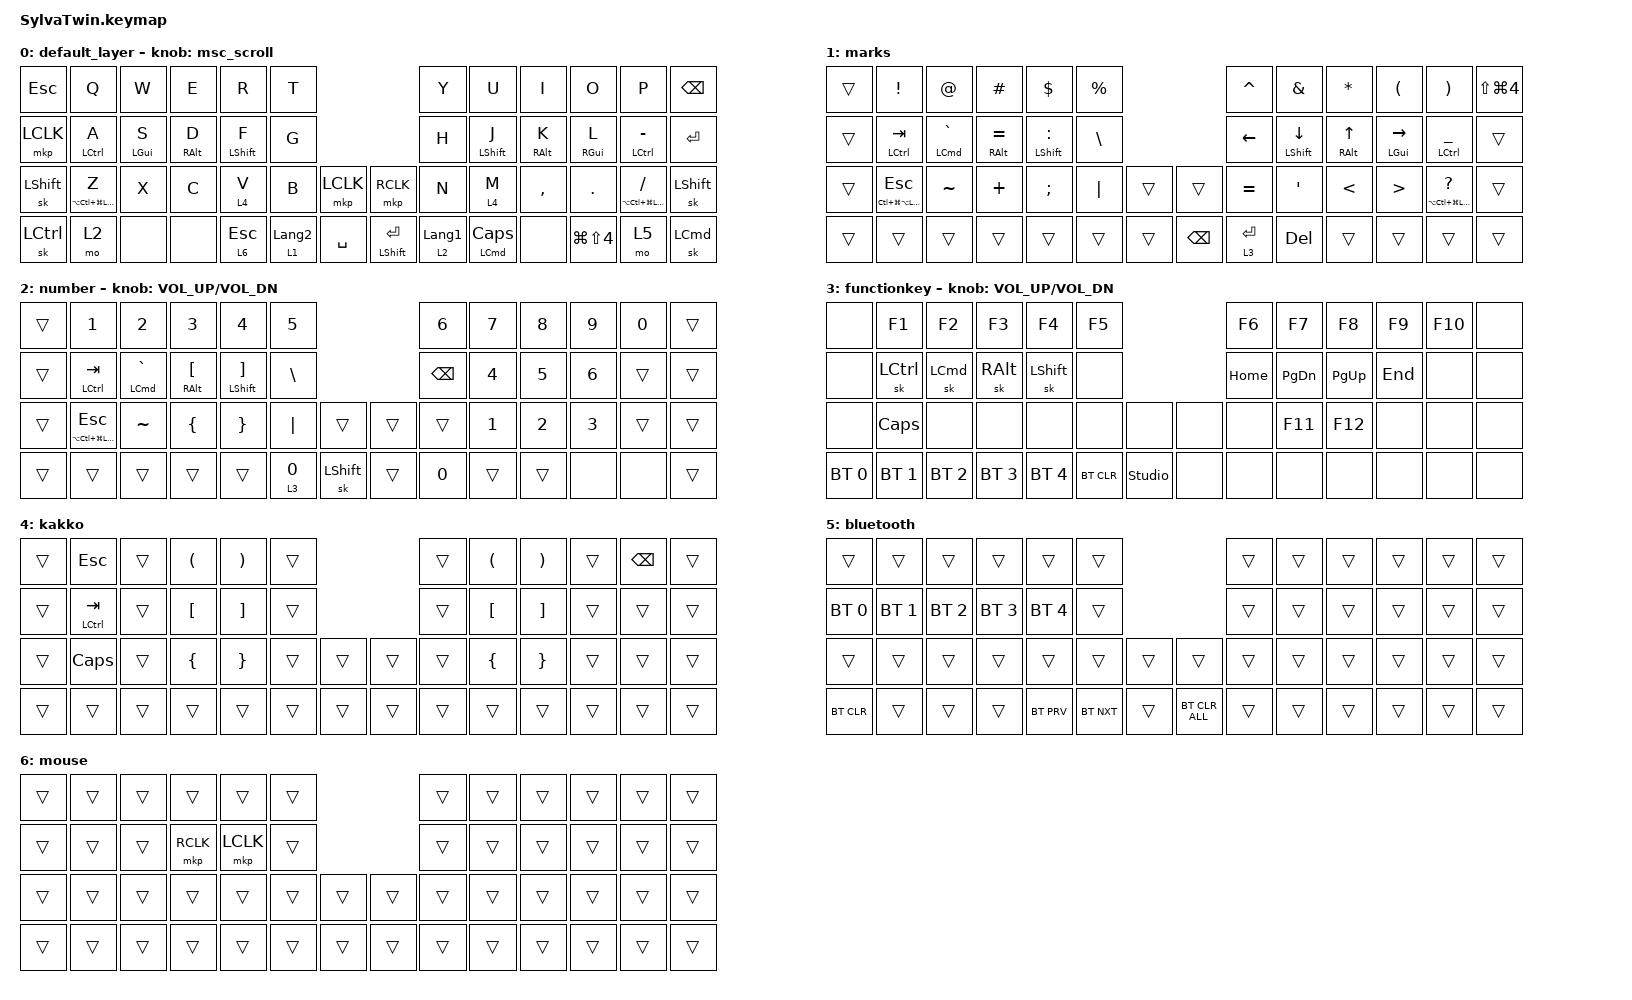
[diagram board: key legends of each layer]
/*
 * Copyright (c) 2020 The ZMK Contributors
 *
 * SPDX-License-Identifier: MIT
 */

#include <behaviors.dtsi>
#include <dt-bindings/zmk/bt.h>
#include <dt-bindings/zmk/keys.h>
#include <dt-bindings/zmk/pointing.h>

/ {
    combos {
        compatible = "zmk,combos";

        mouse-prev {
            bindings = <&mkp MB4>;
            key-positions = <19 7>;
        };

        mouse-next {
            bindings = <&mkp MB5>;
            key-positions = <8 20>;
        };
    };

    behaviors {
        tap_preferred: tap_preferred {
            compatible = "zmk,behavior-hold-tap";
            label = "TAP_PREFERRED";
            bindings = <&kp>, <&kp>;

            #binding-cells = <2>;
            tapping-term-ms = <180>;
            require-prior-idle-ms = <125>;
            flavor = "tap-preferred";
            quick-tap-ms = <180>;
        };

        hold_preferred: hold_preferred {
            compatible = "zmk,behavior-hold-tap";
            label = "HOLD_PREFERRED";
            bindings = <&kp>, <&kp>;

            #binding-cells = <2>;
            tapping-term-ms = <180>;
            quick-tap-ms = <180>;
        };

        layer_tap_prefferd: layer_tap_prefferd {
            compatible = "zmk,behavior-hold-tap";
            label = "LAYER_TAP_PREFFERD";
            bindings = <&mo>, <&kp>;

            #binding-cells = <2>;
            tapping-term-ms = <180>;
            quick-tap-ms = <180>;
            flavor = "tap-preferred";
            require-prior-idle-ms = <125>;
        };

        layer_hold_preferred: layer_hold_preferred {
            compatible = "zmk,behavior-hold-tap";
            label = "LAYER_HOLD_PREFERRED";
            bindings = <&mo>, <&kp>;

            #binding-cells = <2>;
            tapping-term-ms = <180>;
            quick-tap-ms = <180>;
            flavor = "tap-preferred";
        };

        msc_scroll: msc_scroll {
            compatible = "zmk,behavior-sensor-rotate";
            label = "MSC_SCROLL";
            #sensor-binding-cells = <0>;
            bindings = <&msc SCRL_DOWN>, <&msc SCRL_UP>;
            tap-ms = <10>;
        };
    };
    keymap {
        compatible = "zmk,keymap";

        default_layer {
            bindings = <
&kp ESC     &kp Q                                    &kp W                      &kp E                       &kp R                           &kp T                                                                           &kp Y                               &kp U                                  &kp I                       &kp O                       &kp P                                        &kp BACKSPACE
&mkp LCLK   &tap_preferred LCTRL A                   &tap_preferred LEFT_GUI S  &tap_preferred RIGHT_ALT D  &tap_preferred LEFT_SHIFT F     &kp G                                                                           &kp H                               &tap_preferred LEFT_SHIFT J            &tap_preferred RIGHT_ALT K  &tap_preferred RIGHT_GUI L  &tap_preferred LEFT_CONTROL MINUS            &kp ENTER
&sk LSHIFT  &tap_preferred LA(LC(LG(LEFT_SHIFT))) Z  &kp X                      &kp C                       &layer_tap_prefferd 4 V         &kp B                               &mkp LCLK  &mkp RCLK                        &kp N                               &layer_tap_prefferd 4 M                &kp COMMA                   &kp DOT                     &tap_preferred LA(LC(LG(LEFT_SHIFT))) SLASH  &sk LEFT_SHIFT
&sk LCTRL   &mo 2                                    &none                      &none                       &layer_hold_preferred 6 ESCAPE  &layer_hold_preferred 1 LANGUAGE_2  &kp SPACE  &tap_preferred LEFT_SHIFT ENTER  &layer_hold_preferred 2 LANGUAGE_1  &hold_preferred LEFT_COMMAND CAPSLOCK  &none                       &kp LG(LS(N4))              &mo 5                                        &sk LEFT_COMMAND
            >;

            sensor-bindings = <&msc_scroll>;
        };

        marks {
            bindings = <
&trans  &kp EXCLAMATION                               &kp AT_SIGN                        &kp HASH                        &kp DOLLAR                       &kp PERCENT                           &kp CARET                    &kp AMPERSAND                   &kp ASTERISK                       &kp LEFT_PARENTHESIS           &kp RIGHT_PARENTHESIS                           &kp LS(LG(NUMBER_4))
&trans  &tap_preferred LEFT_CONTROL TAB               &tap_preferred LEFT_COMMAND GRAVE  &tap_preferred RIGHT_ALT EQUAL  &tap_preferred LEFT_SHIFT COLON  &kp BACKSLASH                         &kp LEFT                     &tap_preferred LEFT_SHIFT DOWN  &tap_preferred RIGHT_ALT UP_ARROW  &tap_preferred LEFT_GUI RIGHT  &tap_preferred LEFT_CONTROL UNDER               &trans
&trans  &tap_preferred LC(LG(LA(LEFT_SHIFT))) ESCAPE  &kp TILDE                          &kp PLUS                        &kp SEMICOLON                    &kp PIPE       &trans  &trans         &kp EQUAL                    &kp SINGLE_QUOTE                &kp LESS_THAN                      &kp GREATER_THAN               &tap_preferred LA(LC(LG(LEFT_SHIFT))) QUESTION  &trans
&trans  &trans                                        &trans                             &trans                          &trans                           &trans         &trans  &kp BACKSPACE  &layer_tap_prefferd 3 ENTER  &kp DELETE                      &trans                             &trans                         &trans                                          &trans
            >;
        };

        number {
            bindings = <
&trans  &kp NUMBER_1                                  &kp NUMBER_2                       &kp N3                                 &kp N4                                   &kp N5                                            &kp N6         &kp N7  &kp N8  &kp N9  &kp N0  &trans
&trans  &tap_preferred LEFT_CONTROL TAB               &tap_preferred LEFT_COMMAND GRAVE  &tap_preferred RIGHT_ALT LEFT_BRACKET  &tap_preferred LEFT_SHIFT RIGHT_BRACKET  &kp BACKSLASH                                     &kp BACKSPACE  &kp N4  &kp N5  &kp N6  &trans  &trans
&trans  &tap_preferred LA(LC(LG(LEFT_SHIFT))) ESCAPE  &kp TILDE                          &kp LEFT_BRACE                         &kp RIGHT_BRACE                          &kp PIPE                  &trans          &trans  &trans         &kp N1  &kp N2  &kp N3  &trans  &trans
&trans  &trans                                        &trans                             &trans                                 &trans                                   &layer_tap_prefferd 3 N0  &sk LEFT_SHIFT  &trans  &kp NUMBER_0   &trans  &trans  &none   &none   &trans
            >;

            sensor-bindings = <&inc_dec_kp C_VOL_UP C_VOL_DN>;
        };

        functionkey {
            bindings = <
&none         &kp F1            &kp F2            &kp F3         &kp F4          &kp F5                             &kp F6    &kp F7         &kp F8       &kp F9   &kp F10  &none
&none         &sk LEFT_CONTROL  &sk LEFT_COMMAND  &sk RIGHT_ALT  &sk LEFT_SHIFT  &none                              &kp HOME  &kp PAGE_DOWN  &kp PAGE_UP  &kp END  &none    &none
&none         &kp CAPS          &none             &none          &none           &none       &none           &none  &none     &kp F11        &kp F12      &none    &none    &none
&bt BT_SEL 0  &bt BT_SEL 1      &bt BT_SEL 2      &bt BT_SEL 3   &bt BT_SEL 4    &bt BT_CLR  &studio_unlock  &none  &none     &none          &none        &none    &none    &none
            >;

            sensor-bindings = <&inc_dec_kp C_VOL_UP C_VOL_DN>;
        };

        kakko {
            bindings = <
&trans  &kp ESCAPE                       &trans  &kp LEFT_PARENTHESIS  &kp RIGHT_PARENTHESIS  &trans                  &trans  &kp LEFT_PARENTHESIS  &kp RIGHT_PARENTHESIS  &trans  &kp BACKSPACE  &trans
&trans  &tap_preferred LEFT_CONTROL TAB  &trans  &kp LEFT_BRACKET      &kp RIGHT_BRACKET      &trans                  &trans  &kp LEFT_BRACKET      &kp RIGHT_BRACKET      &trans  &trans         &trans
&trans  &kp CAPSLOCK                     &trans  &kp LEFT_BRACE        &kp RIGHT_BRACE        &trans  &trans  &trans  &trans  &kp LEFT_BRACE        &kp RIGHT_BRACE        &trans  &trans         &trans
&trans  &trans                           &trans  &trans                &trans                 &trans  &trans  &trans  &trans  &trans                &trans                 &trans  &trans         &trans
            >;
        };

        bluetooth {
            bindings = <
&trans        &trans        &trans        &trans        &trans        &trans                              &trans  &trans  &trans  &trans  &trans  &trans
&bt BT_SEL 0  &bt BT_SEL 1  &bt BT_SEL 2  &bt BT_SEL 3  &bt BT_SEL 4  &trans                              &trans  &trans  &trans  &trans  &trans  &trans
&trans        &trans        &trans        &trans        &trans        &trans      &trans  &trans          &trans  &trans  &trans  &trans  &trans  &trans
&bt BT_CLR    &trans        &trans        &trans        &bt BT_PRV    &bt BT_NXT  &trans  &bt BT_CLR_ALL  &trans  &trans  &trans  &trans  &trans  &trans
            >;
        };

        mouse {
            bindings = <
&trans  &trans  &trans  &trans     &trans     &trans                  &trans  &trans  &trans  &trans  &trans  &trans
&trans  &trans  &trans  &mkp RCLK  &mkp LCLK  &trans                  &trans  &trans  &trans  &trans  &trans  &trans
&trans  &trans  &trans  &trans     &trans     &trans  &trans  &trans  &trans  &trans  &trans  &trans  &trans  &trans
&trans  &trans  &trans  &trans     &trans     &trans  &trans  &trans  &trans  &trans  &trans  &trans  &trans  &trans
            >;
        };
    };
};
